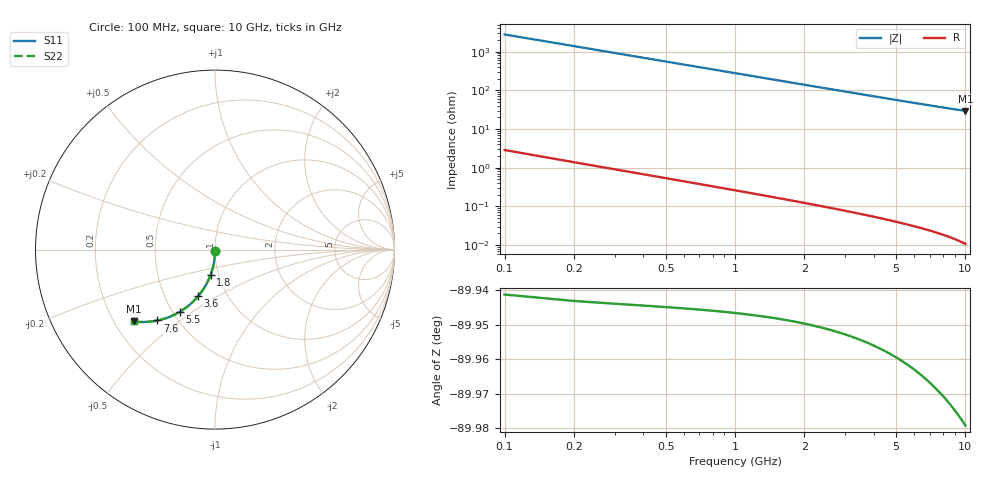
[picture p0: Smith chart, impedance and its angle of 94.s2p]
# Hz S RI R 50.00
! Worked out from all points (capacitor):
!   100 points, 100 MHz to 10 GHz, reference 50 ohm
!   read as one part in shunt: C = 572 fF near 100 MHz
!   lowest |Z| = 29.4 ohm at 10 GHz (marker M1)
!   S11 on the Smith chart (normalised r, x): 100 MHz: 1.00, -0.02; 1.8 GHz: 0.92, -0.26; 3.6 GHz: 0.73, -0.41; 5.5 GHz: 0.54, -0.45; 7.6 GHz: 0.39, -0.42; 10 GHz: 0.28, -0.35
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1e8  0.000677 -0.00803  0.9991 -0.00994  0.9991 -0.00994  0.000677 -0.00803
2e8  0.000433 -0.0161  0.9989 -0.0199  0.9989 -0.0199  0.000433 -0.0161
3e8  2.96e-05 -0.0241  0.9985 -0.0298  0.9985 -0.0298  2.96e-05 -0.0241
4e8  -0.000534 -0.0321  0.9979 -0.0397  0.9979 -0.0397  -0.000534 -0.0321
5e8  -0.00126 -0.0401  0.9971 -0.0496  0.9971 -0.0496  -0.00126 -0.0401
6e8  -0.00214 -0.048  0.9962 -0.0595  0.9962 -0.0595  -0.00214 -0.048
8e8  -0.00437 -0.0639  0.9939 -0.0792  0.9939 -0.0792  -0.00437 -0.0639
1.1e9  -0.00888 -0.0874  0.9893 -0.1084  0.9893 -0.1084  -0.00888 -0.0874
1.4e9  -0.0147 -0.1105  0.9833 -0.1373  0.9833 -0.1373  -0.0147 -0.1105
1.8e9  -0.0246 -0.1406  0.9732 -0.175  0.9732 -0.175  -0.0246 -0.1406
2.1e9  -0.0335 -0.1624  0.9641 -0.2025  0.9641 -0.2025  -0.0335 -0.1624
2.5e9  -0.0471 -0.1903  0.9501 -0.2381  0.9501 -0.2381  -0.0471 -0.1903
2.9e9  -0.0626 -0.2168  0.9342 -0.2723  0.9342 -0.2723  -0.0626 -0.2168
3.4e9  -0.0844 -0.2477  0.9118 -0.3128  0.9118 -0.3128  -0.0844 -0.2477
3.6e9  -0.0938 -0.2593  0.9022 -0.3283  0.9022 -0.3283  -0.0938 -0.2593
4.3e9  -0.1291 -0.2964  0.8658 -0.3789  0.8658 -0.3789  -0.1291 -0.2964
5.1e9  -0.1732 -0.3317  0.8202 -0.4297  0.8202 -0.4297  -0.1732 -0.3317
5.5e9  -0.1963 -0.3465  0.7964 -0.4523  0.7964 -0.4523  -0.1963 -0.3465
6.7e9  -0.2673 -0.3799  0.7225 -0.5093  0.7225 -0.5093  -0.2673 -0.3799
7.6e9  -0.3205 -0.3949  0.6668 -0.542  0.6668 -0.542  -0.3205 -0.3949
8.4e9  -0.3667 -0.4018  0.6181 -0.5649  0.6181 -0.5649  -0.3667 -0.4018
1e10  -0.4529 -0.4003  0.5258 -0.5957  0.5258 -0.5957  -0.4529 -0.4003
